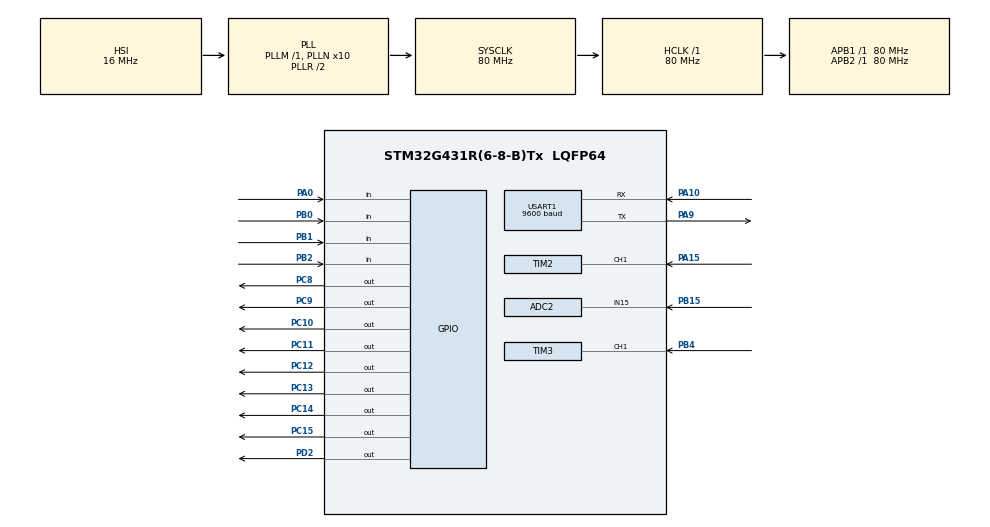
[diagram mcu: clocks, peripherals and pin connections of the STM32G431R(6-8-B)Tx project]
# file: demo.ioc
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ADC2.Channel-0\#ChannelRegularConversion=ADC_CHANNEL_15
ADC2.ContinuousConvMode=DISABLE
ADC2.NbrOfConversion=1
ADC2.NbrOfConversionFlag=1
ADC2.OffsetNumber-0\#ChannelRegularConversion=ADC_OFFSET_NONE
ADC2.Rank-0\#ChannelRegularConversion=1
ADC2.SamplingTime-0\#ChannelRegularConversion=ADC_SAMPLETIME_2CYCLES_5
Dma.Request0=USART1_RX
Dma.USART1_RX.0.Direction=DMA_PERIPH_TO_MEMORY
Dma.USART1_RX.0.EventEnable=DISABLE
Dma.USART1_RX.0.Instance=DMA1_Channel1
Dma.USART1_RX.0.MemDataAlignment=DMA_MDATAALIGN_BYTE
Dma.USART1_RX.0.MemInc=DMA_MINC_ENABLE
Dma.USART1_RX.0.Mode=DMA_NORMAL
Dma.USART1_RX.0.PeriphDataAlignment=DMA_PDATAALIGN_BYTE
Dma.USART1_RX.0.PeriphInc=DMA_PINC_DISABLE
Dma.USART1_RX.0.Polarity=HAL_DMAMUX_REQ_GEN_RISING
Dma.USART1_RX.0.Priority=DMA_PRIORITY_LOW
Dma.USART1_RX.0.RequestNumber=1
Dma.USART1_RX.0.SignalID=NONE
Dma.USART1_RX.0.SyncEnable=DISABLE
Dma.USART1_RX.0.SyncPolarity=HAL_DMAMUX_SYNC_NO_EVENT
Dma.USART1_RX.0.SyncRequestNumber=1
Dma.USART1_RX.0.SyncSignalID=NONE
Mcu.Family=STM32G4
Mcu.Name=STM32G431R(6-8-B)Tx
Mcu.Package=LQFP64
NVIC.DMA1_Channel1_IRQn=true\:0\:0\:false\:false\:true\:true\:true\:true
NVIC.PriorityGroup=NVIC_PRIORITYGROUP_4
NVIC.TIM2_IRQn=true\:0\:0\:false\:false\:true\:true\:true\:true
NVIC.TIM3_IRQn=true\:0\:0\:false\:false\:true\:true\:true\:true
NVIC.USART1_IRQn=true\:14\:0\:true\:false\:true\:true\:true\:true
PA0.Signal=GPIO_Input
PA1.Signal=S_TIM2_CH2
PA10.Mode=Asynchronous
PA10.Signal=USART1_RX
PA15.Signal=S_TIM2_CH1
PA7.Signal=S_TIM3_CH2
PA9.Mode=Asynchronous
PA9.Signal=USART1_TX
PB0.Signal=GPIO_Input
PB1.Signal=GPIO_Input
PB15.Mode=IN15-Single-Ended
PB15.Signal=ADC2_IN15
PB2.Signal=GPIO_Input
PB4.Signal=S_TIM3_CH1
PC10.GPIO_PuPd=GPIO_PULLUP
PC10.PinState=GPIO_PIN_SET
PC10.Signal=GPIO_Output
PC11.GPIO_PuPd=GPIO_PULLUP
PC11.PinState=GPIO_PIN_SET
PC11.Signal=GPIO_Output
PC12.GPIO_PuPd=GPIO_PULLUP
PC12.PinState=GPIO_PIN_SET
PC12.Signal=GPIO_Output
PC13.GPIO_PuPd=GPIO_PULLUP
PC13.PinState=GPIO_PIN_SET
PC13.Signal=GPIO_Output
PC14-OSC32_IN.GPIO_PuPd=GPIO_PULLUP
PC14-OSC32_IN.PinState=GPIO_PIN_SET
PC14-OSC32_IN.Signal=GPIO_Output
PC15-OSC32_OUT.GPIO_PuPd=GPIO_PULLUP
PC15-OSC32_OUT.PinState=GPIO_PIN_SET
PC15-OSC32_OUT.Signal=GPIO_Output
PC8.GPIO_PuPd=GPIO_PULLUP
PC8.PinState=GPIO_PIN_SET
PC8.Signal=GPIO_Output
PC9.GPIO_PuPd=GPIO_PULLUP
PC9.PinState=GPIO_PIN_SET
PC9.Signal=GPIO_Output
PD2.GPIO_ModeDefaultOutputPP=GPIO_MODE_OUTPUT_PP
PD2.GPIO_PuPd=GPIO_PULLUP
PD2.Signal=GPIO_Output
PF0-OSC_IN.Mode=HSE-External-Oscillator
PF0-OSC_IN.Signal=RCC_OSC_IN
PF1-OSC_OUT.Mode=HSE-External-Oscillator
PF1-OSC_OUT.Signal=RCC_OSC_OUT
ProjectManager.HeapSize=0x200
ProjectManager.StackSize=0x400
ProjectManager.TargetToolchain=MDK-ARM V5.32
RCC.ADC12Freq_Value=80000000
RCC.AHBFreq_Value=80000000
RCC.APB1Freq_Value=80000000
RCC.APB1TimFreq_Value=80000000
RCC.APB2Freq_Value=80000000
RCC.APB2TimFreq_Value=80000000
RCC.CortexFreq_Value=80000000
RCC.EXTERNAL_CLOCK_VALUE=12288000
RCC.HCLKFreq_Value=80000000
RCC.HSE_VALUE=24000000
RCC.HSI48_VALUE=48000000
RCC.HSI_VALUE=16000000
RCC.LSE_VALUE=32768
RCC.PLLN=10
RCC.SYSCLKFreq_VALUE=80000000
RCC.SYSCLKSource=RCC_SYSCLKSOURCE_PLLCLK
RCC.USBFreq_Value=80000000
RCC.VCOOutputFreq_Value=160000000
SH.S_TIM2_CH1.0=TIM2_CH1,Input_Capture1_from_TI1
SH.S_TIM2_CH1.1=TIM2_CH1,TriggerSource_TI1FP1
SH.S_TIM2_CH2.0=TIM2_CH2
SH.S_TIM3_CH1.0=TIM3_CH1,Input_Capture1_from_TI1
SH.S_TIM3_CH1.1=TIM3_CH1,TriggerSource_TI1FP1
SH.S_TIM3_CH2.0=TIM3_CH2
TIM2.AutoReloadPreload=TIM_AUTORELOAD_PRELOAD_ENABLE
TIM2.Channel-Input_Capture1_from_TI1=TIM_CHANNEL_1
TIM2.Channel-Input_Capture2_from_TI1_63=TIM_CHANNEL_2
TIM2.ICPolarity_CH2=TIM_INPUTCHANNELPOLARITY_FALLING
TIM2.PeriodNoDither=4294967295
TIM2.Prescaler=80-1
TIM3.Channel-Input_Capture1_from_TI1=TIM_CHANNEL_1
TIM3.Channel-Input_Capture2_from_TI1_63=TIM_CHANNEL_2
TIM3.ICPolarity_CH2=TIM_INPUTCHANNELPOLARITY_FALLING
TIM3.PeriodNoDither=65535
TIM3.Prescaler=80-1
USART1.BaudRate=9600
USART1.VirtualMode-Asynchronous=VM_ASYNC
VP_SYS_VS_DBSignals.Mode=DisableDeadBatterySignals
VP_TIM2_VS_ClockSourceINT.Mode=Internal
VP_TIM2_VS_ControllerModeReset.Mode=Reset Mode
VP_TIM2_VS_indirect_ch1.Mode=Input_Capture2_from_TI1_63
VP_TIM3_VS_ClockSourceINT.Mode=Internal
VP_TIM3_VS_ControllerModeReset.Mode=Reset Mode
VP_TIM3_VS_indirect_ch1.Mode=Input_Capture2_from_TI1_63
board=custom

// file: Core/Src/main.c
/* USER CODE BEGIN Header */
/**
  ******************************************************************************
  * @file           : main.c
  * @brief          : Main program body
  ******************************************************************************
  * @attention
  *
  * Copyright (c) 2023 STMicroelectronics.
  * All rights reserved.
  *
  * This software is licensed under terms that can be found in the LICENSE file
  * in the root directory of this software component.
  * If no LICENSE file comes with this software, it is provided AS-IS.
  *
  ******************************************************************************
  */
/* USER CODE END Header */
#include "main.h"
#include "adc.h"
#include "dma.h"
#include "tim.h"
#include "usart.h"
#include "gpio.h"

/* USER CODE BEGIN Includes */
#include <stdio.h>
#include <string.h>
#include "lcd.h"
#include "i2c.h"
/* USER CODE END Includes */

/* USER CODE BEGIN PTD */
typedef struct button{
	uint16_t ticks;		//按下的持续时间
	uint8_t repeat;		//重复按下的次数
	uint8_t level;  	//读到的电平
	uint8_t debounce_cnt; //消抖次数
	uint8_t state;      //按键状态
	uint8_t id;         //按键编号
	GPIO_TypeDef *GPIOx; //按键所属的GPIO组
	uint16_t GPIO_Pin;	 //按键所属的引脚编号
}button;
/* USER CODE END PTD */

/* USER CODE BEGIN PV */
uint8_t rx_buffer[30];//串口接收缓冲

button btns[4];

uint8_t led = 0x00; //led的初始状态，0表示熄灭，1是点亮

char dis_str[21];

uint8_t sys_state = 0;	//显示界面

/* 全局变量 */
uint8_t data_flag = 0;	// 在数据界面下，按下 B3 按键，切换频率或周期显示模式
uint32_t A_Period = 0;      // PWM周期（单位：μs，计数频率1MHz）
float A_Freq = 0.0f;        // PWM频率（单位：Hz）

uint32_t B_Period = 0;      // PWM周期（单位：μs，计数频率1MHz）
float B_Freq = 0.0f;        // PWM频率（单位：Hz）

int32_t PX = 0;	// 校准参数，默认参数0
int32_t PH = 5000; // 超限参数，默认5000
int32_t PD = 1000; // 突变参数，默认1000

uint8_t para_flag = 0; // 在参数界面下，按下 B3 按键，切换当前选择的参数

float FA, FB; // 保存校验后的频率
float PA, PB; // 保存校验后的周期

uint32_t NDA, NDB; // 记录频率突变次数
uint32_t NHA, NHB; // 记录频率超限次数

float FA_Array[30], FB_Array[30]; // 记录3s的频率数据
uint8_t Counter; // 数据计数器
uint8_t Recd_Flag; // 检测突变测试开关

/* USER CODE END PV */

void SystemClock_Config(void);

/* USER CODE BEGIN 0 */
//数据显示界面
void data_display(void)
{
	LCD_DisplayStringLine(Line1, (uint8_t *)"        DATA        ");
	if(data_flag == 0)
	{
		//显示频率并转换单位
		if(FA > 1000)
		{
			sprintf(dis_str, "     A=%.2fKHz        ", FA / 1000);
		}else if(FA < 0)
		{
			sprintf(dis_str, "     A=NULL         ");
		}else
		{
			sprintf(dis_str, "     A=%dHz        ", (int)FA);
		}
		LCD_DisplayStringLine(Line3, (uint8_t *)dis_str);
		if(FB > 1000)
		{
			sprintf(dis_str, "     B=%.2fKHz        ", FB / 1000);
		}else if(FB < 0)
		{
			sprintf(dis_str, "     B=NULL         ");
		}else
		{
			sprintf(dis_str, "     B=%dHz        ", (int)FB);
		}
		LCD_DisplayStringLine(Line4, (uint8_t *)dis_str);
	}else
	{
		//显示周期并转换单位
		if(PA > 1000)
		{
			sprintf(dis_str, "     A=%.2fmS        ", PA / 1000);
		}else if(PA < 0)
		{
			sprintf(dis_str, "     A=NULL         ");
		}else
		{
			sprintf(dis_str, "     A=%duS        ", (int)PA);
		}
		LCD_DisplayStringLine(Line3, (uint8_t *)dis_str);
		if(PB > 1000)
		{
			sprintf(dis_str, "     B=%.2fmS        ", PB / 1000);
		}else if(PB < 0)
		{
			sprintf(dis_str, "     B=NULL         ");
		}else
		{
			sprintf(dis_str, "     B=%duS        ", (int)PB);
		}
		LCD_DisplayStringLine(Line4, (uint8_t *)dis_str);
	}

}
//参数显示界面
void para_display(void)
{
	LCD_DisplayStringLine(Line1, (uint8_t *)"        PARA        ");
	sprintf(dis_str, "     PD=%dHz      ", PD);
	LCD_DisplayStringLine(Line3, (uint8_t *)dis_str);
	sprintf(dis_str, "     PH=%dHz      ", PH);
	LCD_DisplayStringLine(Line4, (uint8_t *)dis_str);
	sprintf(dis_str, "     PX=%dHz      ", PX);
	LCD_DisplayStringLine(Line5, (uint8_t *)dis_str);
}
//统计界面
void recd_display(void)
{
	LCD_DisplayStringLine(Line1, (uint8_t *)"        RECD        ");
	sprintf(dis_str, "     NDA=%d         ", NDA);
	LCD_DisplayStringLine(Line3, (uint8_t *)dis_str);
	sprintf(dis_str, "     NDB=%d         ", NDB);
	LCD_DisplayStringLine(Line4, (uint8_t *)dis_str);
	sprintf(dis_str, "     NHA=%d         ", NHA);
	LCD_DisplayStringLine(Line5, (uint8_t *)dis_str);
	sprintf(dis_str, "     NHB=%d         ", NHB);
	LCD_DisplayStringLine(Line6, (uint8_t *)dis_str);
}

//更新LED函数
void update_led(void)
{
	GPIOC->ODR &= 0x00ff;//保留低8位，对高8位清零
	GPIOC->ODR |= (~led) << 8; //设置高8位
	HAL_GPIO_WritePin(GPIOD, GPIO_PIN_2, 1);//更新输出
	HAL_GPIO_WritePin(GPIOD, GPIO_PIN_2, 0);
}

void long_press_handler(uint8_t id)
{
	switch(id){
		case 0:
			printf("B1长按...\r\n");
			break;
		case 1:
			printf("B2长按...\r\n");
			break;
		case 2:
			printf("B3长按...\r\n");
			// 长按1s记录值清零
			NDA = 0;
			NDB = 0;
			NHA = 0;
			NHB = 0;
			break;
		case 3:
			printf("B4长按...\r\n");
			break;

	}
}

void single_click_handler(uint8_t id)
{

	switch(id){
		case 0:
//			printf("B1单击...\r\n");
			if(para_flag == 0) PD += 100;
			if(para_flag == 1) PH += 100;
			if(para_flag == 2) PX += 100;
			// 边界值
			if(PD > 1000) PD = 1000;
			if(PH > 10000) PH = 10000;
			if(PX > 1000) PX = 1000;
			break;
		case 1:
//			printf("B2单击...\r\n");
			if(para_flag == 0) PD -= 100;
			if(para_flag == 1) PH -= 100;
			if(para_flag == 2) PX -= 100;
			// 边界值
			if(PD < 100) PD = 100;
			if(PH < 1000) PH = 1000;
			if(PX < -1000) PX = -1000;
			break;
		case 2:
//			printf("B3单击...\r\n");
			if(sys_state == 0)
			{
				//在数据显示界面下，切换频率或周期显示模式
				data_flag == 0 ? (data_flag = 1) : (data_flag = 0);
			}

			if(sys_state == 1)
			{
				// 在参数显示界面下，切换参数
				para_flag == 2 ? (para_flag = 0) : (para_flag++);
			}
			break;
		case 3:
//			printf("B4单击...\r\n");
			// 界面切换
			LCD_Clear(Black); // 先清屏
		    sys_state == 2 ? (sys_state = 0) : (sys_state++);
			if(sys_state == 0) data_flag = 0; // 切换回显示界面时，默认显示频率
			if(sys_state == 1) para_flag = 0; // 切换回参数界面时，默认选择PD参数
			break;

	}
}

//键盘扫描函数
void button_handler(button* btn)
{
	uint8_t gpio_level = HAL_GPIO_ReadPin(btn->GPIOx, btn->GPIO_Pin);

	//按键从按下开始，记录ticks
	if(btn->state > 0) btn->ticks++;

	if(gpio_level != btn->level){
		if(++(btn->debounce_cnt) >= 3){
		//读3次都是同一个电平
			btn->level = gpio_level;
			btn->debounce_cnt = 0;
		}

	}else{
		//电平没有改变，重新消抖
		btn->debounce_cnt = 0;
	}

	//按键状态机
	switch(btn->state){
		case 0:
			if(btn->level == 0){		//按下
				btn->ticks = 0; // 开始计时
				btn->repeat = 1; //记录按下次数
				btn->state = 1;
			}
			break;
		case 1:
			if(btn->level != 0){		//按键松开
				btn->ticks = 0; //重新计时
				btn->state = 2;
			}else if(btn->ticks > 100){						//1000ms没松开，发生长按事件
				//开始长按
				//printf("长按...\r\n");
				long_press_handler(btn->id);
				btn->ticks = 0;	// 重新计时
				btn->repeat = 0; // 防止释放的时候再次触发单击事件
			}
			break;
		case 2:
			  if(btn->ticks > 15){
				//松开了150ms以上，可能是单击、双击或长按释放
				if(btn->repeat == 1){
				  //printf("单击...\r\n");
					single_click_handler(btn->id);
				}else if(btn->repeat == 2){
				  //printf("双击...\r\n");
				}
				btn->state = 0;
			  }else{
				//检测是否再按下
				if (btn->level == 0){
				  btn->repeat++;
				  btn->ticks = 0;
				  btn->state = 1;
				}

			  }

			break;

	}

}

float get_adc2(void)
{
	uint32_t temp = 0;
	//采用10次
	for (uint8_t i = 0; i < 10; i++)
	{
		HAL_ADC_Start(&hadc2);
		//等待转换结束
		if(HAL_ADC_PollForConversion(&hadc2, 100) == HAL_OK){
			temp += HAL_ADC_GetValue(&hadc2);
		}
	}
	temp = temp / 10; //取平均值
	return temp * 3.3 / 4095;
}
/* USER CODE END 0 */

int main(void)
{
  /* USER CODE BEGIN 1 */

   uint32_t tick1=uwTick;
   uint32_t tick2=uwTick;
  /* USER CODE END 1 */

  /* MCU Configuration--------------------------------------------------------*/

  /* Reset of all peripherals, Initializes the Flash interface and the Systick. */
  HAL_Init();

  /* Configure the system clock */
  SystemClock_Config();

  /* Initialize all configured peripherals */
  MX_GPIO_Init();
  MX_USART1_UART_Init();
  MX_DMA_Init();
  MX_ADC2_Init();
  MX_TIM3_Init();
  MX_TIM2_Init();
  /* USER CODE BEGIN 2 */
  printf("串口测试...\r\n");
  update_led();//LED状态更新

  HAL_UARTEx_ReceiveToIdle_DMA(&huart1, rx_buffer,sizeof(rx_buffer));
  __HAL_DMA_DISABLE_IT(&hdma_usart1_rx,DMA_IT_HT);

  btns[0].GPIOx = GPIOB;
  btns[0].GPIO_Pin = GPIO_PIN_0;
  btns[0].level = 1;
  btns[0].id = 0;
  btns[1].GPIOx = GPIOB;
  btns[1].GPIO_Pin = GPIO_PIN_1;
  btns[1].level = 1;
  btns[1].id = 1;
  btns[2].GPIOx = GPIOB;
  btns[2].GPIO_Pin = GPIO_PIN_2;
  btns[2].level = 1;
  btns[2].id = 2;
  btns[3].GPIOx = GPIOA;
  btns[3].GPIO_Pin = GPIO_PIN_0;
  btns[3].level = 1;
  btns[3].id = 3;

	LCD_Init();

	LCD_Clear(Black);
	LCD_SetBackColor(Black);
	LCD_SetTextColor(White);

  // 启用定时器捕获模式
  HAL_TIM_IC_Start_IT(&htim2, TIM_CHANNEL_1);
  HAL_TIM_IC_Start_IT(&htim2, TIM_CHANNEL_2);
  HAL_TIM_IC_Start_IT(&htim3, TIM_CHANNEL_1);
  HAL_TIM_IC_Start_IT(&htim3, TIM_CHANNEL_2);

  /* USER CODE END 2 */

  /* Infinite loop */
  /* USER CODE BEGIN WHILE */
  while (1)
  {
	if(uwTick >= tick1 + 10)  //间隔10ms执行键盘扫描, 更新LED状态
	{
		update_led();
		for(uint8_t i=0; i<4; i++){
			button_handler(&btns[i]);
		}
		tick1 = uwTick;   //更新节拍

	}

	if(uwTick >= tick2 + 100)  //间隔100ms，更新频率同时界面数据刷新一次
	{
		//频率校验，单位Hz
		FA = A_Freq + PX;
		FB = B_Freq + PX;
		//周期转换，单位uS
		PA = 1000000.0 / FA;
		PB = 1000000.0 / FB;
		// 判断是否超过限定值，并记录超限次数
		static uint8_t Flag_FA = 0;
		static uint8_t Flag_FB = 0;
		if(Flag_FA == 0 && FA > PH)
		{
			//大于限定值记录下来，但是只能记录一次，后面就不要再记录了，直到数据又再次小于限定值
			NHA++;
			Flag_FA = 1;
		}
		if(Flag_FA == 1 && FA < PH) Flag_FA = 0;

		if(FA > PH)
		{
			led |= 1 << 1; // 点亮LD2
		}else
		{
			led &= ~(1 << 1); // 熄灭LD2
		}

		if(Flag_FB == 0 && FB > PH)
		{
			//大于限定值记录下来，但是只能记录一次，后面就不要再记录了，直到数据又再次小于限定值
			NHB++;
			Flag_FB = 1;
		}
		if(Flag_FB == 1 && FB < PH) Flag_FB = 0;

		if(FB > PH)
		{
			led |= (1 << 2);  // 点亮LD3
		}else
		{
			led &= ~(1 << 2); // 熄灭LD3
		}

		// 记录AB通道的3秒（即30个）数据
		FA_Array[Counter] = FA;
		FB_Array[Counter] = FB;
		Counter++;
		if(Counter == 30)
		{
			Counter = 0;
			Recd_Flag = 1; // 检测突变测试开关打开
		}

		//每隔3秒钟检测一次突变次数
		if(Recd_Flag == 1)
		{
			//找出AB通道频率的最小值和最大值
			float FA_Min = FA;
			float FA_Max = FA;
			float FB_Min = FB;
			float FB_Max = FB;
			//找数组里的最小值和最大值
			for(uint8_t i = 0; i < 30; i++){
				if(FA_Array[i] < FA_Min) FA_Min = FA_Array[i];
				if(FA_Array[i] > FA_Max) FA_Max = FA_Array[i];
				if(FB_Array[i] < FB_Min) FB_Min = FB_Array[i];
				if(FB_Array[i] > FB_Max) FB_Max = FB_Array[i];
			}
			if((FA_Max - FA_Min) > PD) NDA++;
			if((FB_Max - FB_Min) > PD) NDB++;
			Recd_Flag = 0; // 关闭检测开关，3秒后重新检测
		}

		if(NDA >= 3 || NDB >=3)
		{
			 led |= (1 << 7);// 点亮LD8
		}else
		{
			led &= ~(1 << 7); // 熄灭LD8
		}

		// 显示界面切换
		switch(sys_state){
		case 0:
			data_display();
			led |= (1 << 0); // 点亮LD1
			break;
		case 1:
			para_display();
			led &= ~(1 << 0); // 熄灭LD1
			break;
		case 2:
			recd_display();
			break;
		}
		tick2 = uwTick;   //更新节拍

	}

    /* USER CODE END WHILE */

  }
}

void SystemClock_Config(void)
{
  RCC_OscInitTypeDef RCC_OscInitStruct = {0};
  RCC_ClkInitTypeDef RCC_ClkInitStruct = {0};

  /** Configure the main internal regulator output voltage
  */
  HAL_PWREx_ControlVoltageScaling(PWR_REGULATOR_VOLTAGE_SCALE1);

  /** Initializes the RCC Oscillators according to the specified parameters
  * in the RCC_OscInitTypeDef structure.
  */
  RCC_OscInitStruct.OscillatorType = RCC_OSCILLATORTYPE_HSI;
  RCC_OscInitStruct.HSIState = RCC_HSI_ON;
  RCC_OscInitStruct.HSICalibrationValue = RCC_HSICALIBRATION_DEFAULT;
  RCC_OscInitStruct.PLL.PLLState = RCC_PLL_ON;
  RCC_OscInitStruct.PLL.PLLSource = RCC_PLLSOURCE_HSI;
  RCC_OscInitStruct.PLL.PLLM = RCC_PLLM_DIV1;
  RCC_OscInitStruct.PLL.PLLN = 10;
  RCC_OscInitStruct.PLL.PLLP = RCC_PLLP_DIV2;
  RCC_OscInitStruct.PLL.PLLQ = RCC_PLLQ_DIV2;
  RCC_OscInitStruct.PLL.PLLR = RCC_PLLR_DIV2;
  if (HAL_RCC_OscConfig(&RCC_OscInitStruct) != HAL_OK)
  {
    Error_Handler();
  }

  /** Initializes the CPU, AHB and APB buses clocks
  */
  RCC_ClkInitStruct.ClockType = RCC_CLOCKTYPE_HCLK|RCC_CLOCKTYPE_SYSCLK
                              |RCC_CLOCKTYPE_PCLK1|RCC_CLOCKTYPE_PCLK2;
  RCC_ClkInitStruct.SYSCLKSource = RCC_SYSCLKSOURCE_PLLCLK;
  RCC_ClkInitStruct.AHBCLKDivider = RCC_SYSCLK_DIV1;
  RCC_ClkInitStruct.APB1CLKDivider = RCC_HCLK_DIV1;
  RCC_ClkInitStruct.APB2CLKDivider = RCC_HCLK_DIV1;

  if (HAL_RCC_ClockConfig(&RCC_ClkInitStruct, FLASH_LATENCY_2) != HAL_OK)
  {
    Error_Handler();
  }
}

/* USER CODE BEGIN 4 */

void HAL_UARTEx_RxEventCallback(UART_HandleTypeDef *huart, uint16_t Size)
{
	if(huart == &huart1)
	{
		printf("接收到%d个字符：%s\r\n", Size, rx_buffer);

		HAL_UARTEx_ReceiveToIdle_DMA(&huart1, rx_buffer,sizeof(rx_buffer));
		__HAL_DMA_DISABLE_IT(&hdma_usart1_rx,DMA_IT_HT);
	}

}

void HAL_TIM_IC_CaptureCallback(TIM_HandleTypeDef *htim)
{
  if (htim == &htim2)
  {
	  A_Period = __HAL_TIM_GET_COMPARE(&htim2, TIM_CHANNEL_1); //两个上升沿之间的计数值即周期，单位us
	  A_Freq = 1000000.0f / A_Period;//单位Hz
  }

  if (htim == &htim3)
  {
	  B_Period = __HAL_TIM_GET_COMPARE(&htim3, TIM_CHANNEL_1);
	  B_Freq = 1000000.0f / B_Period;//单位Hz
  }

}

/* USER CODE END 4 */

void Error_Handler(void)
{
  __disable_irq();
  while (1)
  {
  }
}
